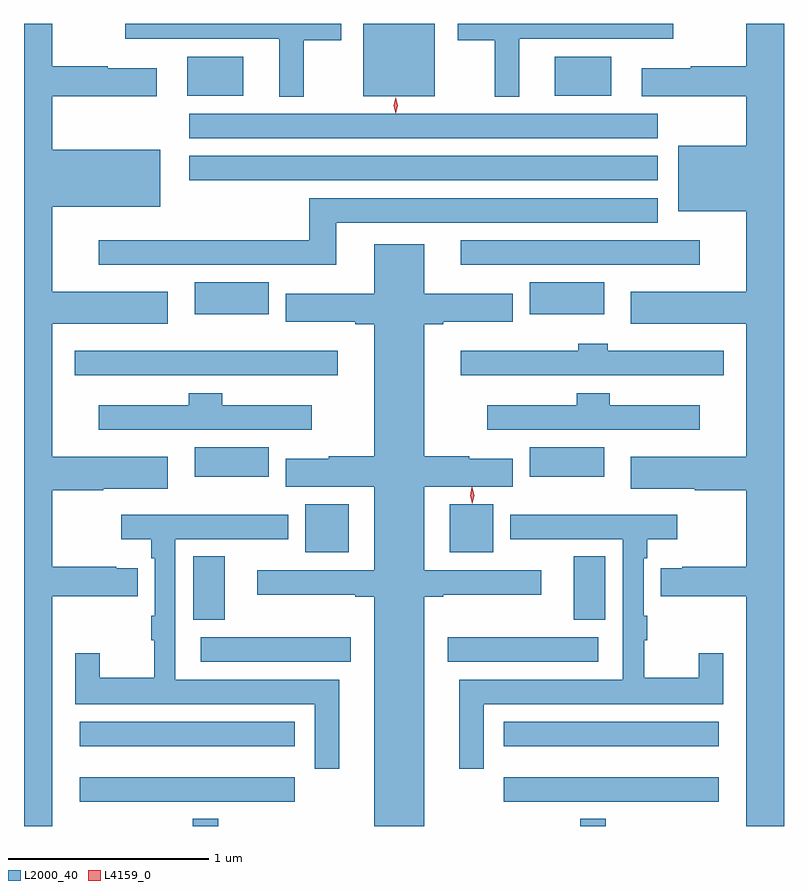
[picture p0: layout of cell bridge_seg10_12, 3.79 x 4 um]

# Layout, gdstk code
import gdstk
lib = gdstk.Library(unit=1e-6, precision=1e-09)
def R(c, l, rs):  # rectangles x0, y0, x1, y1
    for r in rs: c.add(gdstk.rectangle(r[:2], r[2:], *l))
def P(c, l, *ps):  # polygons
    for p in ps: c.add(gdstk.Polygon(p, *l))
L2000_40 = (2000, 40)
L4159_0 = (4159, 0)

bridge_seg10_12 = lib.new_cell('bridge_seg10_12')
R(bridge_seg10_12, L2000_40, [(1055.57,1274.771,1055.698,1274.809), (1057.502,1274.771,1057.63,1274.809), (1055.007,1274.894,1056.079,1275.016), (1057.122,1274.894,1058.194,1275.016), (1055.007,1275.17,1056.079,1275.292), (1057.122,1275.17,1058.194,1275.292), (1055.61,1275.59,1056.358,1275.712), (1056.843,1275.59,1057.591,1275.712), (1055.573,1275.801,1055.731,1276.117), (1057.469,1275.801,1057.627,1276.117), (1056.131,1276.136,1056.349,1276.375), (1056.851,1276.136,1057.069,1276.375), (1055.58,1276.514,1055.949,1276.66), (1057.252,1276.514,1057.621,1276.66), (1054.983,1277.018,1056.295,1277.14), (1055.58,1277.324,1055.949,1277.482), (1057.252,1277.324,1057.621,1277.482), (1056.906,1277.57,1058.098,1277.692), (1055.553,1277.99,1057.888,1278.112), (1055.553,1278.2,1057.888,1278.322), (1056.422,1278.41,1056.778,1278.771), (1055.543,1278.413,1055.824,1278.607), (1057.376,1278.413,1057.657,1278.607)])
P(bridge_seg10_12, L2000_40, [(1058.518,1278.771),(1058.33,1278.771),(1058.33,1278.558),(1058.053,1278.558),(1058.053,1278.55),(1057.809,1278.55),(1057.809,1278.41),(1058.33,1278.41),(1058.33,1278.163),(1057.991,1278.163),(1057.991,1277.837),(1058.33,1277.837),(1058.33,1277.434),(1057.755,1277.434),(1057.755,1277.276),(1058.33,1277.276),(1058.33,1276.612),(1057.755,1276.612),(1057.755,1276.454),(1058.074,1276.454),(1058.074,1276.447),(1058.33,1276.447),(1058.33,1276.065),(1058.011,1276.065),(1058.011,1276.057),(1057.904,1276.057),(1057.904,1275.917),(1058.33,1275.917),(1058.33,1274.771),(1058.518,1274.771)],
  [(1056.124,1278.688),(1056.31,1278.688),(1056.31,1278.771),(1055.235,1278.771),(1055.235,1278.695),(1056.002,1278.695),(1056.002,1278.407),(1056.124,1278.407)],
  [(1057.198,1278.695),(1057.966,1278.695),(1057.966,1278.771),(1056.891,1278.771),(1056.891,1278.688),(1057.076,1278.688),(1057.076,1278.407),(1057.198,1278.407)],
  [(1054.87,1275.917),(1055.296,1275.917),(1055.296,1276.057),(1055.189,1276.057),(1055.189,1276.065),(1054.87,1276.065),(1054.87,1276.447),(1055.126,1276.447),(1055.126,1276.454),(1055.446,1276.454),(1055.446,1276.612),(1054.87,1276.612),(1054.87,1277.276),(1055.446,1277.276),(1055.446,1277.434),(1054.87,1277.434),(1054.87,1277.858),(1055.41,1277.858),(1055.41,1278.142),(1054.87,1278.142),(1054.87,1278.41),(1055.392,1278.41),(1055.392,1278.55),(1055.147,1278.55),(1055.147,1278.558),(1054.87,1278.558),(1054.87,1278.771),(1054.73,1278.771),(1054.73,1274.771),(1054.87,1274.771)],
  [(1056.286,1277.78),(1057.888,1277.78),(1057.888,1277.902),(1056.152,1277.902),(1056.152,1277.692),(1055.103,1277.692),(1055.103,1277.57),(1056.286,1277.57)],
  [(1056.724,1275.914),(1056.82,1275.914),(1056.82,1275.926),(1057.309,1275.926),(1057.309,1276.048),(1056.724,1276.048),(1056.724,1276.463),(1057.167,1276.463),(1057.167,1276.603),(1056.95,1276.603),(1056.95,1276.616),(1056.724,1276.616),(1056.724,1277.273),(1056.82,1277.273),(1056.82,1277.285),(1057.167,1277.285),(1057.167,1277.425),(1056.724,1277.425),(1056.724,1277.671),(1056.476,1277.671),(1056.476,1277.425),(1056.034,1277.425),(1056.034,1277.285),(1056.38,1277.285),(1056.38,1277.273),(1056.476,1277.273),(1056.476,1276.616),(1056.25,1276.616),(1056.25,1276.603),(1056.034,1276.603),(1056.034,1276.463),(1056.476,1276.463),(1056.476,1276.048),(1055.892,1276.048),(1055.892,1275.926),(1056.38,1275.926),(1056.38,1275.914),(1056.476,1275.914),(1056.476,1274.771),(1056.724,1274.771)],
  [(1058.218,1277.14),(1057.64,1277.14),(1057.64,1277.176),(1057.493,1277.176),(1057.493,1277.14),(1056.906,1277.14),(1056.906,1277.018),(1058.218,1277.018)],
  [(1058.098,1276.87),(1057.649,1276.87),(1057.649,1276.93),(1057.484,1276.93),(1057.484,1276.87),(1057.038,1276.87),(1057.038,1276.748),(1058.098,1276.748)],
  [(1056.163,1276.87),(1055.717,1276.87),(1055.717,1276.93),(1055.552,1276.93),(1055.552,1276.87),(1055.103,1276.87),(1055.103,1276.748),(1056.163,1276.748)],
  [(1056.301,1275.502),(1055.485,1275.502),(1055.485,1276.202),(1056.046,1276.202),(1056.046,1276.324),(1055.214,1276.324),(1055.214,1276.202),(1055.364,1276.202),(1055.364,1276.106),(1055.381,1276.106),(1055.381,1275.821),(1055.364,1275.821),(1055.364,1275.698),(1055.379,1275.698),(1055.379,1275.51),(1055.107,1275.51),(1055.107,1275.634),(1054.985,1275.634),(1054.985,1275.38),(1056.179,1275.38),(1056.179,1275.057),(1056.301,1275.057)],
  [(1057.021,1275.38),(1058.215,1275.38),(1058.215,1275.634),(1058.093,1275.634),(1058.093,1275.51),(1057.822,1275.51),(1057.822,1275.698),(1057.837,1275.698),(1057.837,1275.821),(1057.819,1275.821),(1057.819,1276.106),(1057.837,1276.106),(1057.837,1276.202),(1057.987,1276.202),(1057.987,1276.324),(1057.154,1276.324),(1057.154,1276.202),(1057.715,1276.202),(1057.715,1275.502),(1056.899,1275.502),(1056.899,1275.057),(1057.021,1275.057)])
P(bridge_seg10_12, L4159_0, [(1056.963,1276.378),(1056.963,1276.378),(1056.953,1276.419),(1056.962,1276.461),(1056.962,1276.461),(1056.963,1276.461),(1056.973,1276.419),(1056.963,1276.378)],
  [(1056.583,1278.321),(1056.583,1278.322),(1056.573,1278.363),(1056.583,1278.404),(1056.583,1278.404),(1056.583,1278.404),(1056.593,1278.363),(1056.583,1278.322)])

lib.write_gds('bridge_seg10_12.gds')
